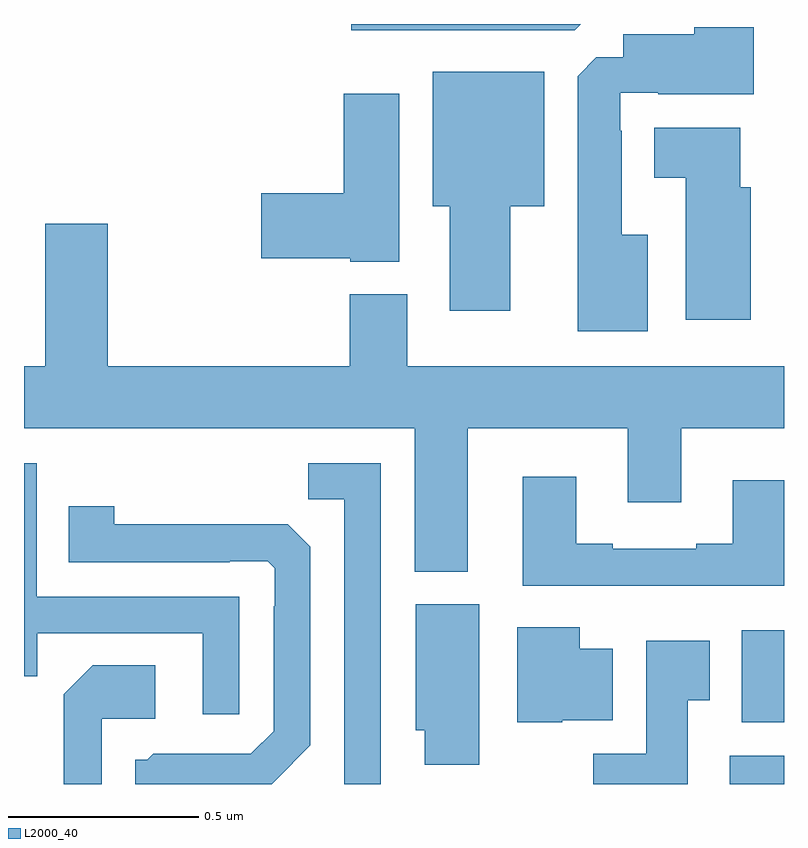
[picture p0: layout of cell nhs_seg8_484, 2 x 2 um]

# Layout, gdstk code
import gdstk
lib = gdstk.Library(unit=1e-6, precision=1e-09)
def R(c, l, rs):  # rectangles x0, y0, x1, y1
    for r in rs: c.add(gdstk.rectangle(r[:2], r[2:], *l))
def P(c, l, *ps):  # polygons
    for p in ps: c.add(gdstk.Polygon(p, *l))
L2000_40 = (2000, 40)

nhs_seg8_484 = lib.new_cell('nhs_seg8_484')
R(nhs_seg8_484, L2000_40, [(118.857,1112.9,119,1112.974), (118.889,1113.062,119,1113.304)])
P(nhs_seg8_484, L2000_40, [(118.465,1114.9),(117.861,1114.9),(117.861,1114.884),(118.449,1114.884)],
  [(118.642,1114.345),(118.573,1114.345),(118.573,1114.619),(118.569,1114.619),(118.569,1114.719),(118.669,1114.719),(118.669,1114.715),(118.921,1114.715),(118.921,1114.891),(118.764,1114.891),(118.764,1114.873),(118.577,1114.873),(118.577,1114.812),(118.506,1114.812),(118.457,1114.763),(118.457,1114.091),(118.642,1114.091)],
  [(118.279,1114.421),(118.369,1114.421),(118.369,1114.774),(118.076,1114.774),(118.076,1114.421),(118.121,1114.421),(118.121,1114.146),(118.279,1114.146)],
  [(117.988,1114.717),(117.842,1114.717),(117.842,1114.454),(117.624,1114.454),(117.624,1114.283),(117.858,1114.283),(117.858,1114.274),(117.988,1114.274)],
  [(118.912,1114.47),(118.885,1114.47),(118.885,1114.627),(118.658,1114.627),(118.658,1114.496),(118.742,1114.496),(118.742,1114.122),(118.912,1114.122)],
  [(118.168,1113.836),(118.589,1113.836),(118.589,1113.642),(118.729,1113.642),(118.729,1113.836),(119,1113.836),(119,1114),(118.009,1114),(118.009,1114.189),(117.857,1114.189),(117.857,1114),(117.22,1114),(117.22,1114.375),(117.056,1114.375),(117.056,1114),(117,1114),(117,1113.836),(118.028,1113.836),(118.028,1113.458),(118.168,1113.458)],
  [(117.567,1113.393),(117.033,1113.393),(117.033,1113.744),(117,1113.744),(117,1113.184),(117.035,1113.184),(117.035,1113.297),(117.471,1113.297),(117.471,1113.084),(117.567,1113.084)],
  [(117.939,1113.744),(117.748,1113.744),(117.748,1113.649),(117.843,1113.649),(117.843,1112.9),(117.939,1112.9)],
  [(119,1113.7),(118.865,1113.7),(118.865,1113.532),(118.769,1113.532),(118.769,1113.519),(118.549,1113.519),(118.549,1113.532),(118.453,1113.532),(118.453,1113.709),(118.313,1113.709),(118.313,1113.422),(119,1113.422)],
  [(117.661,1112.909),(117.753,1113.002),(117.753,1113.524),(117.694,1113.583),(117.593,1113.583),(117.593,1113.584),(117.237,1113.584),(117.237,1113.631),(117.118,1113.631),(117.118,1113.483),(117.542,1113.483),(117.542,1113.486),(117.642,1113.486),(117.66,1113.468),(117.66,1113.368),(117.657,1113.368),(117.657,1113.039),(117.597,1112.979),(117.474,1112.979),(117.474,1112.98),(117.34,1112.98),(117.324,1112.964),(117.293,1112.964),(117.293,1112.9),(117.652,1112.9)],
  [(118.198,1113.373),(118.031,1113.373),(118.031,1113.042),(118.055,1113.042),(118.055,1112.951),(118.198,1112.951)],
  [(118.416,1113.068),(118.549,1113.068),(118.549,1113.256),(118.462,1113.256),(118.462,1113.313),(118.298,1113.313),(118.298,1113.062),(118.416,1113.062)],
  [(118.747,1113.121),(118.804,1113.121),(118.804,1113.277),(118.637,1113.277),(118.637,1112.98),(118.498,1112.98),(118.498,1112.9),(118.747,1112.9)],
  [(117.204,1113.072),(117.346,1113.072),(117.346,1113.212),(117.181,1113.212),(117.105,1113.136),(117.105,1112.9),(117.204,1112.9)])

lib.write_gds('nhs_seg8_484.gds')
